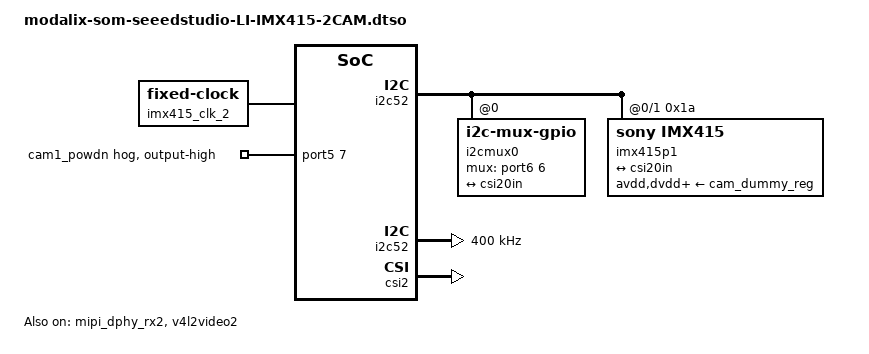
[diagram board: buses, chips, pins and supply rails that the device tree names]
// SPDX-License-Identifier: (GPL-2.0+ OR MIT)
/*
 * Copyright (c) 2026 SiMa ai
 *
 * LI IMX415 on the Seeed Studio CAM2 connector (CSI2, GPIO-mux child 1,
 * cam1_powdn).
 *
 * This carrier connector routes two CSI-2 lanes. The 37.125 MHz INCK and
 * 891 Mbps/lane match the other in-tree LI IMX415 overlays.
 */

/dts-v1/;
/plugin/;

#include <dt-bindings/gpio/gpio.h>

&{/} {
    imx415_clk_2: csi2_camera-clk {
        compatible = "fixed-clock";
        #clock-cells = <0>;
        clock-frequency = <37125000>;
    };

    i2cmux0: i2cmux@0 {
        compatible = "i2c-mux-gpio";
        i2c-parent = <&i2c52>;
        #address-cells = <1>;
        #size-cells = <0>;
        mux-gpios = <&port6 6 GPIO_ACTIVE_HIGH>;

        i2cmux0p1: i2c@1 {
            reg = <1>;
            #address-cells = <1>;
            #size-cells = <0>;
        };
    };
};

&port5 {
    cam-hog1 {
        gpio-hog;
        gpios = <7 GPIO_ACTIVE_HIGH>;
        output-high;
        line-name = "cam1_powdn";
    };
};

&i2c52 {
    status = "okay";
    clock-frequency = <400000>;
    #address-cells = <1>;
    #size-cells = <0>;
};

&csi2 {
    status = "okay";
};

&axi_vdma2 {
    status = "okay";
};

&mipi_dphy_rx2 {
    status = "okay";
};

&v4l2video2 {
    status = "okay";
};

&v4l2vdma2 {
    status = "okay";
};

&csi20in {
    clock-lanes = <0>;
    data-lanes = <1 2>;
    link-frequencies = /bits/ 64 <445500000>;
    remote-endpoint = <&cam20out>;
};

&i2cmux0p1 {
    imx415p1: imx415@1a {
        compatible = "sony,imx415";
        reg = <0x1a>;

        clocks = <&imx415_clk_2>;

        avdd-supply = <&cam_dummy_reg>;
        dvdd-supply = <&cam_dummy_reg>;
        ovdd-supply = <&cam_dummy_reg>;

        orientation = <2>;

        port {
            cam20out: endpoint {
                clock-lanes = <0>;
                data-lanes = <1 2>;
                link-frequencies = /bits/ 64 <445500000>;
                remote-endpoint = <&csi20in>;
            };
        };
    };
};
